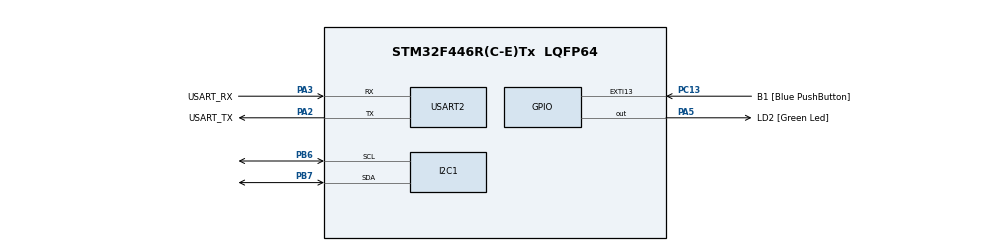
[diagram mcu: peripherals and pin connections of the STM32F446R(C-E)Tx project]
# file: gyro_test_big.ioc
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Mcu.Family=STM32F4
Mcu.Name=STM32F446R(C-E)Tx
Mcu.Package=LQFP64
NVIC.PriorityGroup=NVIC_PRIORITYGROUP_0
PA13.GPIO_Label=TMS
PA13.Mode=Serial_Wire
PA13.Signal=SYS_JTMS-SWDIO
PA14.GPIO_Label=TCK
PA14.Mode=Serial_Wire
PA14.Signal=SYS_JTCK-SWCLK
PA2.GPIO_Label=USART_TX
PA2.Mode=Asynchronous
PA2.Signal=USART2_TX
PA3.GPIO_Label=USART_RX
PA3.Mode=Asynchronous
PA3.Signal=USART2_RX
PA5.GPIO_Label=LD2 [Green Led]
PA5.Signal=GPIO_Output
PB3.GPIO_Label=SWO
PB3.Signal=SYS_JTDO-SWO
PB6.Mode=I2C
PB6.Signal=I2C1_SCL
PB7.Mode=I2C
PB7.Signal=I2C1_SDA
PC13.GPIO_Label=B1 [Blue PushButton]
PC13.GPIO_ModeDefaultEXTI=GPIO_MODE_IT_FALLING
PC13.Signal=GPXTI13
PC14-OSC32_IN.Mode=LSE-External-Oscillator
PC14-OSC32_IN.Signal=RCC_OSC32_IN
PC15-OSC32_OUT.Mode=LSE-External-Oscillator
PC15-OSC32_OUT.Signal=RCC_OSC32_OUT
PH0-OSC_IN.Mode=HSE-External-Oscillator
PH0-OSC_IN.Signal=RCC_OSC_IN
PH1-OSC_OUT.Mode=HSE-External-Oscillator
PH1-OSC_OUT.Signal=RCC_OSC_OUT
ProjectManager.HeapSize=0x200
ProjectManager.StackSize=0x400
ProjectManager.TargetToolchain=STM32CubeIDE
RCC.48MHZClocksFreq_Value=84000000
RCC.AHBFreq_Value=84000000
RCC.APB1CLKDivider=RCC_HCLK_DIV2
RCC.APB1Freq_Value=42000000
RCC.APB1TimFreq_Value=84000000
RCC.APB2Freq_Value=84000000
RCC.APB2TimFreq_Value=84000000
RCC.CortexFreq_Value=84000000
RCC.FLatency-AdvancedSettings=FLASH_LATENCY_2
RCC.HCLKFreq_Value=84000000
RCC.HSE_VALUE=8000000
RCC.HSI_VALUE=16000000
RCC.PLLN=336
RCC.PLLP=RCC_PLLP_DIV4
RCC.SYSCLKFreq_VALUE=84000000
RCC.SYSCLKSource=RCC_SYSCLKSOURCE_PLLCLK
RCC.USBFreq_Value=168000000
RCC.VCOOutputFreq_Value=336000000
USART2.VirtualMode=VM_ASYNC
board=NUCLEO-F446RE

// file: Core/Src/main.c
/* USER CODE BEGIN Header */
/**
  ******************************************************************************
  * @file           : main.c
  * @brief          : Main program body
  ******************************************************************************
  * @attention
  *
  * Copyright (c) 2025 STMicroelectronics.
  * All rights reserved.
  *
  * This software is licensed under terms that can be found in the LICENSE file
  * in the root directory of this software component.
  * If no LICENSE file comes with this software, it is provided AS-IS.
  *
  ******************************************************************************
  */
/* USER CODE END Header */
#include "main.h"

/* USER CODE BEGIN Includes */
#include "ICM20602.h"
#include <stdio.h>
#include <string.h>
#include "llcp.h"
#include "llcp_lib.h"
/* USER CODE END Includes */

I2C_HandleTypeDef hi2c1;

/* USER CODE BEGIN PV */
float gx, gy, gz;
int iic_err = 0;
extern float gyro_y;
extern float deg_XZ;
char msg5[64];
volatile uint32_t cf_update_count = 0;
volatile uint32_t last_print_time = 0;
static uint32_t last_hb = 0;
extern LLCP_Receiver_t llcp_receiver;
uint8_t value = 0;
/* USER CODE END PV */

void SystemClock_Config(void);
static void MX_GPIO_Init(void);
static void MX_USART2_UART_Init(void);
static void MX_I2C1_Init(void);

int main(void)
{

  /* MCU Configuration--------------------------------------------------------*/

  /* Reset of all peripherals, Initializes the Flash interface and the Systick. */
  HAL_Init();

  /* Configure the system clock */
  SystemClock_Config();

  /* Initialize all configured peripherals */
  MX_GPIO_Init();
  MX_USART2_UART_Init();
  MX_I2C1_Init();
  /* USER CODE BEGIN 2 */
  ICM20602_Init(/*ad0=*/0, /*dlpf_cfg=*/2, /*smpl_div=*/4, /*fs=*/GFS_1000);
    CompFilter filter;
    CF_Init(&filter, 0.0);
    llcp_initialize(&llcp_receiver);
  /* USER CODE END 2 */

  /* Infinite loop */
  /* USER CODE BEGIN WHILE */
  while (1)
  {
	  /*
	  Read_Gyro();
	  Read_Data_ACC();
	  CF_Update(&filter, gyro_y,deg_XZ);
	   *
	  cf_update_count++;
	   */
	  if (receive_message())
	  {
		 send_imu(40);
	  }

			/*
	  uint32_t current_time = HAL_GetTick();

		// Vypis probehne kazdou 1 sekundu (1000 ms)
		if ((current_time - last_print_time) >= 1000)
		{

			uint32_t frequency = cf_update_count;

			char freq_msg[64];
			int len = sprintf(freq_msg, "FREKVENCE: %lu Hz\r\n", (unsigned long)frequency);

			// Odeslani pres UART/USART (huart2)
			HAL_UART_Transmit(&huart2, (uint8_t *)freq_msg, len, 100);
			send_imu(40);
			// Resetovani casu a citace pro novy interval
			last_print_time = current_time;
			cf_update_count = 0;
		}
			 */

/*
 *
	  sprintf(msg5, "angle: %d ACC:%d \r\n", (int)(filter.angle), (int)deg_XZ);
	  HAL_UART_Transmit(&huart2, (uint8_t*)msg5, strlen(msg5), 100);
 */

    /* USER CODE END WHILE */

  }
}

void SystemClock_Config(void)
{
  LL_FLASH_SetLatency(LL_FLASH_LATENCY_2);
  while(LL_FLASH_GetLatency()!= LL_FLASH_LATENCY_2)
  {
  }
  LL_PWR_SetRegulVoltageScaling(LL_PWR_REGU_VOLTAGE_SCALE3);
  LL_PWR_DisableOverDriveMode();
  LL_RCC_HSI_SetCalibTrimming(16);
  LL_RCC_HSI_Enable();

   /* Wait till HSI is ready */
  while(LL_RCC_HSI_IsReady() != 1)
  {

  }
  LL_RCC_PLL_ConfigDomain_SYS(LL_RCC_PLLSOURCE_HSI, LL_RCC_PLLM_DIV_16, 336, LL_RCC_PLLP_DIV_4);
  LL_RCC_PLL_Enable();

   /* Wait till PLL is ready */
  while(LL_RCC_PLL_IsReady() != 1)
  {

  }
  while (LL_PWR_IsActiveFlag_VOS() == 0)
  {
  }
  LL_RCC_SetAHBPrescaler(LL_RCC_SYSCLK_DIV_1);
  LL_RCC_SetAPB1Prescaler(LL_RCC_APB1_DIV_2);
  LL_RCC_SetAPB2Prescaler(LL_RCC_APB2_DIV_1);
  LL_RCC_SetSysClkSource(LL_RCC_SYS_CLKSOURCE_PLL);

   /* Wait till System clock is ready */
  while(LL_RCC_GetSysClkSource() != LL_RCC_SYS_CLKSOURCE_STATUS_PLL)
  {

  }
  LL_SetSystemCoreClock(84000000);

   /* Update the time base */
  if (HAL_InitTick (TICK_INT_PRIORITY) != HAL_OK)
  {
    Error_Handler();
  }
  LL_RCC_SetTIMPrescaler(LL_RCC_TIM_PRESCALER_TWICE);
}

static void MX_I2C1_Init(void)
{

  hi2c1.Instance = I2C1;
  hi2c1.Init.ClockSpeed = 100000;
  hi2c1.Init.DutyCycle = I2C_DUTYCYCLE_2;
  hi2c1.Init.OwnAddress1 = 0;
  hi2c1.Init.AddressingMode = I2C_ADDRESSINGMODE_7BIT;
  hi2c1.Init.DualAddressMode = I2C_DUALADDRESS_DISABLE;
  hi2c1.Init.OwnAddress2 = 0;
  hi2c1.Init.GeneralCallMode = I2C_GENERALCALL_DISABLE;
  hi2c1.Init.NoStretchMode = I2C_NOSTRETCH_DISABLE;
  if (HAL_I2C_Init(&hi2c1) != HAL_OK)
  {
    Error_Handler();
  }

}

static void MX_USART2_UART_Init(void)
{

  LL_USART_InitTypeDef USART_InitStruct = {0};

  LL_GPIO_InitTypeDef GPIO_InitStruct = {0};

  /* Peripheral clock enable */
  LL_APB1_GRP1_EnableClock(LL_APB1_GRP1_PERIPH_USART2);

  LL_AHB1_GRP1_EnableClock(LL_AHB1_GRP1_PERIPH_GPIOA);
  /**USART2 GPIO Configuration
  PA2   ------> USART2_TX
  PA3   ------> USART2_RX
  */
  GPIO_InitStruct.Pin = USART_TX_Pin|USART_RX_Pin;
  GPIO_InitStruct.Mode = LL_GPIO_MODE_ALTERNATE;
  GPIO_InitStruct.Speed = LL_GPIO_SPEED_FREQ_VERY_HIGH;
  GPIO_InitStruct.OutputType = LL_GPIO_OUTPUT_PUSHPULL;
  GPIO_InitStruct.Pull = LL_GPIO_PULL_NO;
  GPIO_InitStruct.Alternate = LL_GPIO_AF_7;
  LL_GPIO_Init(GPIOA, &GPIO_InitStruct);

  USART_InitStruct.BaudRate = 115200;
  USART_InitStruct.DataWidth = LL_USART_DATAWIDTH_8B;
  USART_InitStruct.StopBits = LL_USART_STOPBITS_1;
  USART_InitStruct.Parity = LL_USART_PARITY_NONE;
  USART_InitStruct.TransferDirection = LL_USART_DIRECTION_TX_RX;
  USART_InitStruct.HardwareFlowControl = LL_USART_HWCONTROL_NONE;
  USART_InitStruct.OverSampling = LL_USART_OVERSAMPLING_16;
  LL_USART_Init(USART2, &USART_InitStruct);
  LL_USART_ConfigAsyncMode(USART2);
  LL_USART_Enable(USART2);

}

static void MX_GPIO_Init(void)
{
  LL_EXTI_InitTypeDef EXTI_InitStruct = {0};
  LL_GPIO_InitTypeDef GPIO_InitStruct = {0};

  /* GPIO Ports Clock Enable */
  LL_AHB1_GRP1_EnableClock(LL_AHB1_GRP1_PERIPH_GPIOC);
  LL_AHB1_GRP1_EnableClock(LL_AHB1_GRP1_PERIPH_GPIOH);
  LL_AHB1_GRP1_EnableClock(LL_AHB1_GRP1_PERIPH_GPIOA);
  LL_AHB1_GRP1_EnableClock(LL_AHB1_GRP1_PERIPH_GPIOB);

  /**/
  LL_GPIO_ResetOutputPin(LD2_GPIO_Port, LD2_Pin);

  /**/
  LL_SYSCFG_SetEXTISource(LL_SYSCFG_EXTI_PORTC, LL_SYSCFG_EXTI_LINE13);

  /**/
  EXTI_InitStruct.Line_0_31 = LL_EXTI_LINE_13;
  EXTI_InitStruct.LineCommand = ENABLE;
  EXTI_InitStruct.Mode = LL_EXTI_MODE_IT;
  EXTI_InitStruct.Trigger = LL_EXTI_TRIGGER_FALLING;
  LL_EXTI_Init(&EXTI_InitStruct);

  /**/
  LL_GPIO_SetPinPull(B1_GPIO_Port, B1_Pin, LL_GPIO_PULL_NO);

  /**/
  LL_GPIO_SetPinMode(B1_GPIO_Port, B1_Pin, LL_GPIO_MODE_INPUT);

  /**/
  GPIO_InitStruct.Pin = LD2_Pin;
  GPIO_InitStruct.Mode = LL_GPIO_MODE_OUTPUT;
  GPIO_InitStruct.Speed = LL_GPIO_SPEED_FREQ_LOW;
  GPIO_InitStruct.OutputType = LL_GPIO_OUTPUT_PUSHPULL;
  GPIO_InitStruct.Pull = LL_GPIO_PULL_NO;
  LL_GPIO_Init(LD2_GPIO_Port, &GPIO_InitStruct);

}

void Error_Handler(void)
{
  __disable_irq();
  while (1)
  {
  }
}
